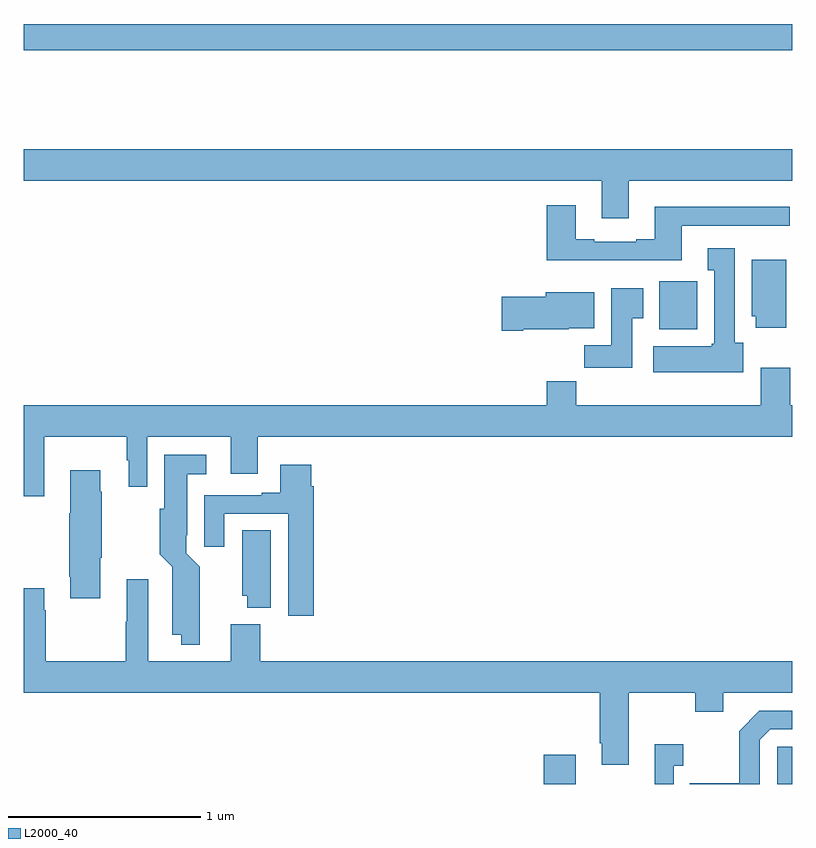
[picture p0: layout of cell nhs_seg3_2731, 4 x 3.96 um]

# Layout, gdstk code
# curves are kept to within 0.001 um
import gdstk
lib = gdstk.Library(unit=1e-6, precision=1e-09)
def R(c, l, rs):  # rectangles x0, y0, x1, y1
    for r in rs: c.add(gdstk.rectangle(r[:2], r[2:], *l))
def P(c, l, *ps):  # polygons
    for p in ps: c.add(gdstk.Polygon(p, *l))
L2000_40 = (2000, 40)

nhs_seg3_2731 = lib.new_cell('nhs_seg3_2731')
R(nhs_seg3_2731, L2000_40, [(253.706,740.4,253.873,740.551), (254.922,740.4,255,740.595), (254.309,742.766,254.505,743.017), (251,744.22,255,744.356)])
P(nhs_seg3_2731, L2000_40, [(254.149,743.54),(255,743.54),(255,743.704),(251,743.704),(251,743.54),(254.009,743.54),(254.009,743.346),(254.149,743.346)],
  [(254.425,743.307),(254.986,743.307),(254.986,743.404),(254.285,743.404),(254.285,743.236),(254.189,743.236),(254.189,743.223),(253.969,743.223),(253.969,743.236),(253.873,743.236),(253.873,743.413),(253.721,743.413),(253.721,743.126),(254.425,743.126)],
  [(254.746,742.698),(254.701,742.698),(254.701,743.188),(254.561,743.188),(254.561,743.075),(254.594,743.075),(254.594,742.692),(254.581,742.692),(254.581,742.678),(254.277,742.678),(254.277,742.544),(254.746,742.544)],
  [(254.968,743.128),(254.789,743.128),(254.789,742.836),(254.81,742.836),(254.81,742.776),(254.968,742.776)],
  [(254.167,742.825),(254.224,742.825),(254.224,742.981),(254.057,742.981),(254.057,742.684),(253.918,742.684),(253.918,742.566),(254.167,742.566)],
  [(253.6,742.766),(253.836,742.766),(253.836,742.772),(253.969,742.772),(253.969,742.96),(253.718,742.96),(253.718,742.937),(253.488,742.937),(253.488,742.759),(253.6,742.759)],
  [(251,741.897),(251.107,741.897),(251.107,742.208),(251.535,742.208),(251.535,742.086),(251.546,742.086),(251.546,741.948),(251.643,741.948),(251.643,742.208),(252.077,742.208),(252.077,742.014),(252.217,742.014),(252.217,742.208),(255,742.208),(255,742.372),(254.99,742.372),(254.99,742.567),(254.837,742.567),(254.837,742.372),(253.877,742.372),(253.877,742.496),(253.721,742.496),(253.721,742.372),(251,742.372)],
  [(251.916,741.428),(251.917,741.53),(251.847,741.6),(251.847,741.694),(251.851,741.694),(251.851,742.013),(251.95,742.013),(251.95,742.114),(251.732,742.114),(251.732,741.834),(251.707,741.834),(251.707,741.597),(251.774,741.53),(251.774,741.176),(251.819,741.176),(251.819,741.125),(251.916,741.125)],
  [(252.509,741.95),(252.496,741.95),(252.496,742.063),(252.335,742.063),(252.335,741.916),(252.239,741.916),(252.239,741.903),(251.939,741.903),(251.939,741.636),(252.043,741.636),(252.043,741.807),(252.377,741.807),(252.377,741.276),(252.509,741.276)],
  [(251.398,741.578),(251.406,741.578),(251.406,741.92),(251.398,741.92),(251.398,742.033),(251.243,742.033),(251.243,741.809),(251.236,741.809),(251.236,741.478),(251.243,741.478),(251.243,741.366),(251.398,741.366)],
  [(252.286,741.722),(252.137,741.722),(252.137,741.381),(252.164,741.381),(252.164,741.317),(252.286,741.317)],
  [(252.23,741.232),(252.077,741.232),(252.077,741.04),(251.647,741.04),(251.647,741.466),(251.537,741.466),(251.537,741.245),(251.53,741.245),(251.53,741.04),(251.115,741.04),(251.115,741.305),(251.107,741.305),(251.107,741.418),(251,741.418),(251,740.876),(253.997,740.876),(253.997,740.611),(254.009,740.611),(254.009,740.499),(254.149,740.499),(254.149,740.876),(254.494,740.876),(254.494,740.777),(254.641,740.777),(254.641,740.876),(255,740.876),(255,741.04),(252.23,741.04)],
  [(254.832,740.631),(254.886,740.685),(255,740.685),(255,740.781),(254.829,740.781),(254.724,740.675),(254.724,740.403),(254.467,740.403),(254.467,740.4),(254.832,740.4)],
  [(254.382,740.495),(254.434,740.495),(254.434,740.608),(254.285,740.608),(254.285,740.4),(254.382,740.4)])

lib.write_gds('nhs_seg3_2731.gds')
